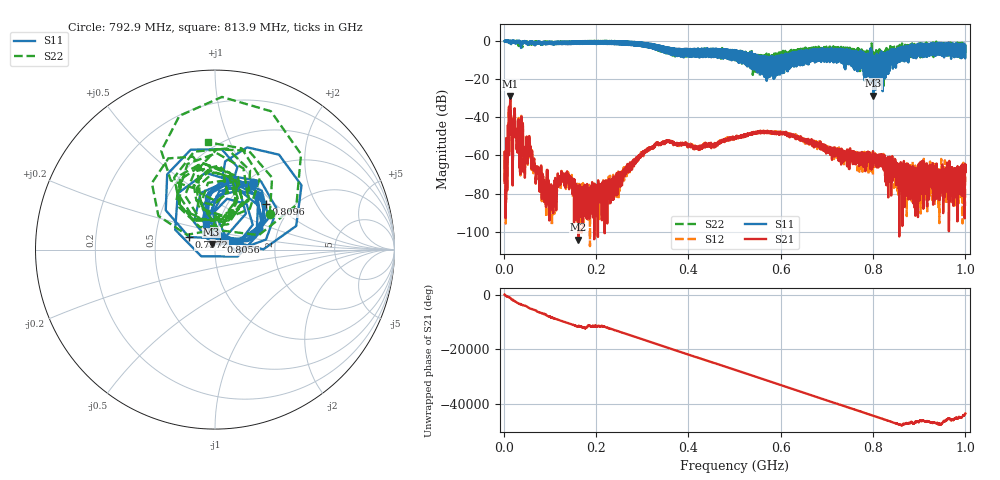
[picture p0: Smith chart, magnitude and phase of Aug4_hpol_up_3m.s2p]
!Keysight Technologies N9923A: A.12.45
!Date: Tuesday, 05 August 2025 19:55:55
!Timezone: (UTC+08:00) Kuala Lumpur, Singapore
!Model: N9923A
!Serial: MY61181427
!GPS Latitude:
!GPS Longitude:
!GPS TimeStamp: 0001-01-01 00:00:00Z
!GPS Seconds Since Last Read: 0
!CHECKSUM:0155797913
!Correction: S11(ON U)S21(ON U)S12(ON U)S22(ON U)
!S2P File: Measurements:S11,S21,S12,S22:
# Hz S DB R 50
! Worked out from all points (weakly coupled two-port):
!   4001 points, 2 MHz to 1 GHz, reference 50 ohm
!   highest |S21| = -29.17 dB at 14.23 MHz (marker M1); lowest = -104.1 dB at 161.7 MHz (marker M2)
!   lowest |S11| = -28.7 dB at 800.6 MHz (marker M3), VSWR 1.08, Z = 48 + j3.04 ohm
!   |S11| at or under -10 dB: 570.8504 MHz to 571.8757 MHz (1.025 MHz wide, 0.179 % of centre); 585.992 MHz to 587.0791 MHz (1.087 MHz wide, 0.185 % of centre); 800.1643 MHz to 802.8163 MHz (2.652 MHz wide, 0.331 % of centre)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
!   |S22| runs from -23.6 to 0.1 dB; largest |S21 - S12| = 0.0011
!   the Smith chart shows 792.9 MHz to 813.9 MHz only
!   S11 on the Smith chart (normalised r, x): 792.9 MHz: 1.08, +0.98; 797.2 MHz: 0.74, +0.11; 805.6 MHz: 1.06, +0.09; 809.6 MHz: 1.48, +0.87; 813.9 MHz: 0.87, +0.26
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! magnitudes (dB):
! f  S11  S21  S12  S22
! 2 MHz  -0.1  -74.4  -73.7  -0.1
! 14.23 MHz  -0.9  -29.2  -29.2  -1.5
! 47.41 MHz  -1.0  -55.4  -56.3  -1.1
! 53.65 MHz  -0.9  -55.9  -56.2  -0.7
! 87.33 MHz  -0.7  -80.6  -80.5  -0.7
! 128.5 MHz  -1.4  -72.4  -71.4  -1.3
! 161.7 MHz  -1.6  -104.1  -89.5  -1.3
! 168.4 MHz  -1.6  -83.0  -100.5  -1.3
! 225.3 MHz  -1.2  -78.1  -80.9  -0.5
! 334.8 MHz  -4.2  -53.6  -53.7  -5.1
! 501 MHz  -7.0  -50.6  -50.8  -9.3
! 571.4 MHz  -18.9  -47.8  -47.4  -12.5
! 667.4 MHz  -10.6  -51.7  -54.4  -5.5
! 792.9 MHz  -7.4  -63.4  -62.7  -8.8
! 797.2 MHz  -15.9  -59.9  -66.6  -2.3
! 800.6 MHz  -28.7  -62.7  -62.7  -8.1
! 805.6 MHz  -25.6  -61.3  -60.5  -8.8
! 809.6 MHz  -8.4  -61.3  -63.9  -15.0
! 813.9 MHz  -16.3  -65.0  -60.0  -4.5
! 833.8 MHz  -7.1  -65.6  -61.9  -5.3
! 892.2 MHz  -3.6  -68.0  -72.2  -8.1
! 1 GHz  -2.8  -65.1  -67.0  -6.4
